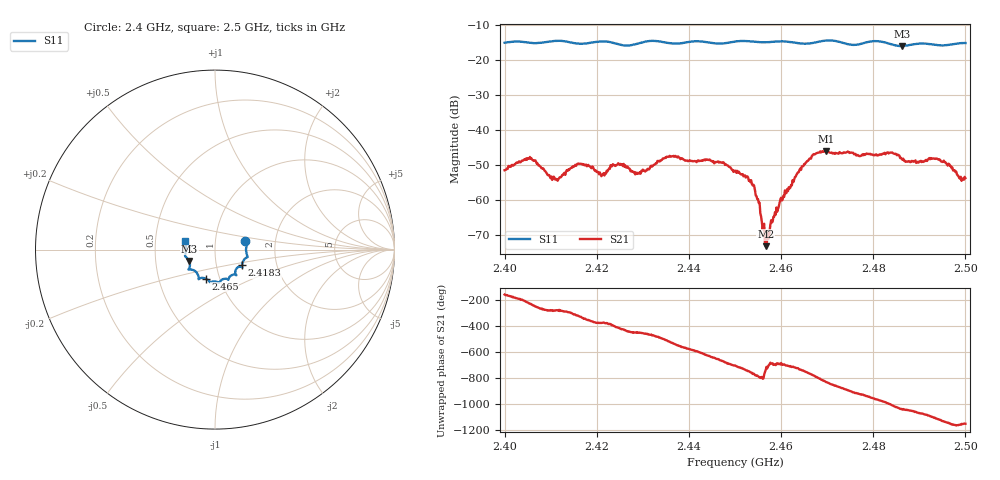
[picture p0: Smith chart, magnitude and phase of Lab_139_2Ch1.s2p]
# Hz S RI R 50
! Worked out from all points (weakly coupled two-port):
!   601 points, 2.4 GHz to 2.5 GHz, reference 50 ohm
!   highest |S21| = -45.92 dB at 2.4698 GHz (marker M1); lowest = -73.0 dB at 2.4567 GHz (marker M2)
!   lowest |S11| = -16.1 dB at 2.4862 GHz (marker M3), VSWR 1.37, Z = 37.2 - j4.82 ohm
!   |S11| at or under -10 dB: start of sweep to end of sweep
!   S12 and S22 are empty: the file has one direction only
!   S11 on the Smith chart (normalised r, x): 2.4 GHz: 1.40, +0.14; 2.4183 GHz: 1.33, -0.24; 2.465 GHz: 0.86, -0.28; 2.5 GHz: 0.71, +0.07
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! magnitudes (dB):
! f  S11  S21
! 2.4 GHz  -15.1  -51.4
! 2.4055 GHz  -15.2  -47.7
! 2.4113 GHz  -14.6  -54.0
! 2.4167 GHz  -15.4  -49.6
! 2.4183 GHz  -15.2  -50.2
! 2.4213 GHz  -14.8  -52.6
! 2.425 GHz  -15.7  -49.9
! 2.4288 GHz  -15.4  -52.2
! 2.4333 GHz  -14.7  -48.8
! 2.4442 GHz  -15.0  -48.5
! 2.45 GHz  -14.8  -51.8
! 2.4538 GHz  -14.8  -55.7
! 2.4567 GHz  -15.0  -73.0
! 2.457 GHz  -15.0  -71.1
! 2.4603 GHz  -14.7  -59.8
! 2.465 GHz  -15.4  -49.7
! 2.4667 GHz  -15.2  -47.4
! 2.4698 GHz  -14.5  -45.9
! 2.4833 GHz  -15.3  -46.7
! 2.4862 GHz  -16.1  -48.1
! 2.494 GHz  -15.8  -48.3
! 2.5 GHz  -15.2  -53.7
